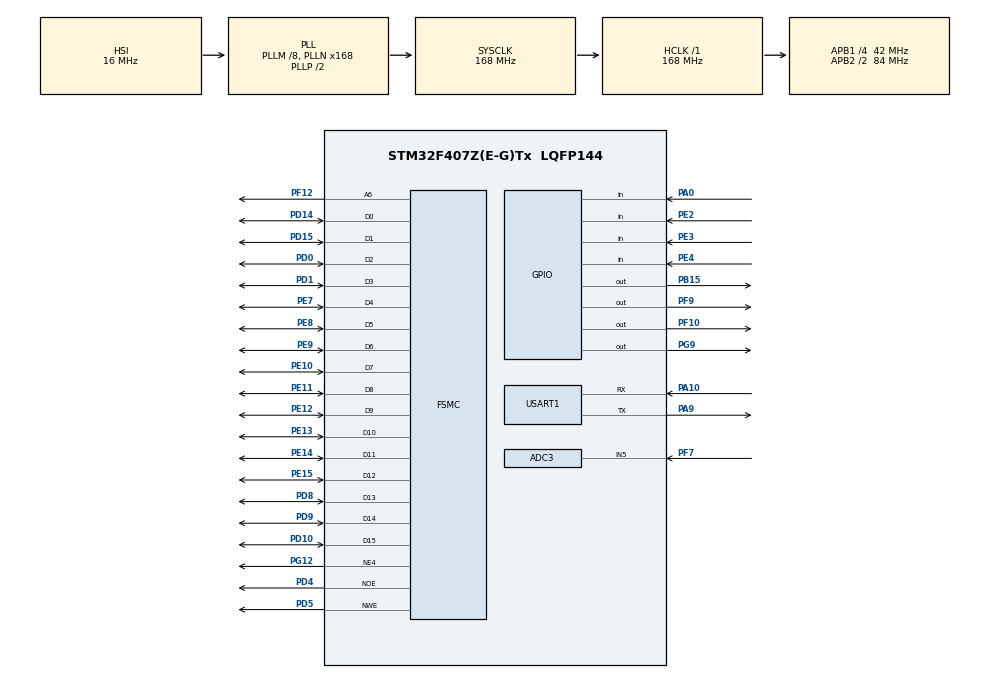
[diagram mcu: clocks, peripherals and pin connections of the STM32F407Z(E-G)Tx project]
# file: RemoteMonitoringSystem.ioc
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ADC3.Channel-0\#ChannelRegularConversion=ADC_CHANNEL_5
ADC3.NbrOfConversionFlag=1
ADC3.Rank-0\#ChannelRegularConversion=1
ADC3.SamplingTime-0\#ChannelRegularConversion=ADC_SAMPLETIME_480CYCLES
Dma.ADC3.0.Direction=DMA_PERIPH_TO_MEMORY
Dma.ADC3.0.FIFOMode=DMA_FIFOMODE_DISABLE
Dma.ADC3.0.Instance=DMA2_Stream0
Dma.ADC3.0.MemDataAlignment=DMA_MDATAALIGN_HALFWORD
Dma.ADC3.0.MemInc=DMA_MINC_ENABLE
Dma.ADC3.0.Mode=DMA_CIRCULAR
Dma.ADC3.0.PeriphDataAlignment=DMA_PDATAALIGN_HALFWORD
Dma.ADC3.0.PeriphInc=DMA_PINC_DISABLE
Dma.ADC3.0.Priority=DMA_PRIORITY_LOW
Dma.Request0=ADC3
FSMC.AddressSetupTime1=0x0F
FSMC.BusTurnAroundDuration1=0
FSMC.DataSetupTime1=60
FSMC.ExtendedAddressSetupTime1=9
FSMC.ExtendedBusTurnAroundDuration1=0
FSMC.ExtendedDataSetupTime1=9
FSMC.ExtendedMode1=FSMC_EXTENDED_MODE_ENABLE
Mcu.Family=STM32F4
Mcu.Name=STM32F407Z(E-G)Tx
Mcu.Package=LQFP144
NVIC.ADC_IRQn=true\:0\:0\:false\:false\:true\:true\:true\:true
NVIC.DMA2_Stream0_IRQn=true\:0\:0\:false\:false\:true\:false\:true\:true
NVIC.PriorityGroup=NVIC_PRIORITYGROUP_4
NVIC.USART1_IRQn=true\:0\:0\:false\:false\:true\:true\:true\:true
PA0-WKUP.GPIO_PuPd=GPIO_PULLDOWN
PA0-WKUP.Signal=GPIO_Input
PA10.GPIO_PuPd=GPIO_PULLUP
PA10.Mode=Asynchronous
PA10.Signal=USART1_RX
PA13.Mode=Serial_Wire
PA13.Signal=SYS_JTMS-SWDIO
PA14.Mode=Serial_Wire
PA14.Signal=SYS_JTCK-SWCLK
PA9.GPIO_PuPd=GPIO_PULLUP
PA9.GPIO_Speed=GPIO_SPEED_FREQ_VERY_HIGH
PA9.Mode=Asynchronous
PA9.Signal=USART1_TX
PB15.PinState=GPIO_PIN_RESET
PB15.Signal=GPIO_Output
PD0.Signal=FSMC_D2_DA2
PD1.Signal=FSMC_D3_DA3
PD10.Signal=FSMC_D15_DA15
PD14.Signal=FSMC_D0_DA0
PD15.Signal=FSMC_D1_DA1
PD4.Signal=FSMC_NOE
PD5.Signal=FSMC_NWE
PD8.Signal=FSMC_D13_DA13
PD9.Signal=FSMC_D14_DA14
PE10.Signal=FSMC_D7_DA7
PE11.Signal=FSMC_D8_DA8
PE12.Signal=FSMC_D9_DA9
PE13.Signal=FSMC_D10_DA10
PE14.Signal=FSMC_D11_DA11
PE15.Signal=FSMC_D12_DA12
PE2.GPIO_PuPd=GPIO_PULLUP
PE2.Signal=GPIO_Input
PE3.GPIO_PuPd=GPIO_PULLUP
PE3.Signal=GPIO_Input
PE4.GPIO_PuPd=GPIO_PULLUP
PE4.Signal=GPIO_Input
PE7.Signal=FSMC_D4_DA4
PE8.Signal=FSMC_D5_DA5
PE9.Signal=FSMC_D6_DA6
PF10.GPIO_PuPd=GPIO_PULLUP
PF10.GPIO_Speed=GPIO_SPEED_FREQ_HIGH
PF10.PinState=GPIO_PIN_SET
PF10.Signal=GPIO_Output
PF12.Signal=FSMC_A6
PF7.Mode=IN5
PF7.Signal=ADC3_IN5
PF9.PinState=GPIO_PIN_SET
PF9.Signal=GPIO_Output
PG12.Mode=NorPsramChipSelect4_1
PG12.Signal=FSMC_NE4
PG9.GPIO_ModeDefaultOutputPP=GPIO_MODE_OUTPUT_OD
PG9.GPIO_PuPd=GPIO_PULLUP
PG9.GPIO_Speed=GPIO_SPEED_FREQ_HIGH
PG9.Signal=GPIO_Output
PH0-OSC_IN.Mode=HSE-External-Oscillator
PH0-OSC_IN.Signal=RCC_OSC_IN
PH1-OSC_OUT.Mode=HSE-External-Oscillator
PH1-OSC_OUT.Signal=RCC_OSC_OUT
ProjectManager.HeapSize=0x200
ProjectManager.StackSize=0x400
ProjectManager.TargetToolchain=MDK-ARM V5
RCC.48MHZClocksFreq_Value=84000000
RCC.AHBFreq_Value=168000000
RCC.APB1CLKDivider=RCC_HCLK_DIV4
RCC.APB1Freq_Value=42000000
RCC.APB1TimFreq_Value=84000000
RCC.APB2CLKDivider=RCC_HCLK_DIV2
RCC.APB2Freq_Value=84000000
RCC.APB2TimFreq_Value=168000000
RCC.CortexFreq_Value=168000000
RCC.HCLKFreq_Value=168000000
RCC.HSE_VALUE=8000000
RCC.HSI_VALUE=16000000
RCC.LSE_VALUE=32768
RCC.PLLM=8
RCC.PLLN=168
RCC.SYSCLKFreq_VALUE=168000000
RCC.SYSCLKSource=RCC_SYSCLKSOURCE_PLLCLK
RCC.VCOOutputFreq_Value=336000000
SH.FSMC_A6.0=FSMC_A6,A6_1
SH.FSMC_D0_DA0.0=FSMC_D0,16b-d1
SH.FSMC_D10_DA10.0=FSMC_D10,16b-d1
SH.FSMC_D11_DA11.0=FSMC_D11,16b-d1
SH.FSMC_D12_DA12.0=FSMC_D12,16b-d1
SH.FSMC_D13_DA13.0=FSMC_D13,16b-d1
SH.FSMC_D14_DA14.0=FSMC_D14,16b-d1
SH.FSMC_D15_DA15.0=FSMC_D15,16b-d1
SH.FSMC_D1_DA1.0=FSMC_D1,16b-d1
SH.FSMC_D2_DA2.0=FSMC_D2,16b-d1
SH.FSMC_D3_DA3.0=FSMC_D3,16b-d1
SH.FSMC_D4_DA4.0=FSMC_D4,16b-d1
SH.FSMC_D5_DA5.0=FSMC_D5,16b-d1
SH.FSMC_D6_DA6.0=FSMC_D6,16b-d1
SH.FSMC_D7_DA7.0=FSMC_D7,16b-d1
SH.FSMC_D8_DA8.0=FSMC_D8,16b-d1
SH.FSMC_D9_DA9.0=FSMC_D9,16b-d1
SH.FSMC_NOE.0=FSMC_NOE,Lcd1
SH.FSMC_NWE.0=FSMC_NWE,Lcd1
USART1.VirtualMode=VM_ASYNC
board=custom

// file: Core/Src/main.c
/* USER CODE BEGIN Header */
/**
  ******************************************************************************
  * @file           : main.c
  * @brief          : Main program body
  ******************************************************************************
  * @attention
  *
  * Copyright (c) 2026 STMicroelectronics.
  * All rights reserved.
  *
  * This software is licensed under terms that can be found in the LICENSE file
  * in the root directory of this software component.
  * If no LICENSE file comes with this software, it is provided AS-IS.
  *
  ******************************************************************************
  */
/* USER CODE END Header */
#include "main.h"
#include "adc.h"
#include "dma.h"
#include "usart.h"
#include "gpio.h"
#include "fsmc.h"

/* USER CODE BEGIN Includes */
#include "LedKey\bsp_led_key.h"
#include "usart\bsp_usart1.h"
#include "delay\bsp_delay.h"
#include "lcd\lcd.h"
#include "dht11\bsp_dht11.h"
#include "lsens\bsp_lsens.h"
/* USER CODE END Includes */

/* USER CODE BEGIN PM */
//uint8_t  g_usart_rx_buf[USART_REC_LEN];  /* RX buffer, max USART_REC_LEN bytes, last byte is terminator */
//uint16_t g_usart_rx_sta;                 /* RX status register */
//uint8_t g_rx_buffer[RXBUFFERSIZE];       /* HAL USART RX buffer */
/* USER CODE END PM */

void SystemClock_Config(void);

int main(void)
{

  /* USER CODE BEGIN 1 */
	uint16_t adcx;
	//uint8_t t = 0;
	uint8_t temperature;
	uint8_t humidity;
	uint16_t cnt = 0;
  /* USER CODE END 1 */

  /* MCU Configuration--------------------------------------------------------*/

  /* Reset of all peripherals, Initializes the Flash interface and the Systick. */
  HAL_Init();

  /* Configure the system clock */
  SystemClock_Config();

  /* Initialize all configured peripherals */
  MX_GPIO_Init();
  MX_DMA_Init();
  MX_USART1_UART_Init();
  MX_FSMC_Init();
  MX_ADC3_Init();
  /* USER CODE BEGIN 2 */
	lcd_init();
	delay_init();
	lcd_show_string(30, 50, 200, 16, 16, "STM32", RED);
  lcd_show_string(30, 70, 200, 16, 16, "DHT11 TEST", RED);
  lcd_show_string(30, 90, 200, 16, 16, "ATOM@ALIENTEK", RED);
  lcd_show_string(30, 110, 200, 16, 16, "LSENS_VAL:", BLUE);
	while(dht11_init())
	{
		lcd_show_string(30, 130, 200, 16, 16, "DHT11 ERROR", RED);
		delay_ms(200);
		lcd_fill(30,130,239,130+16,WHITE);
		delay_ms(200);
	}
	lcd_show_string(30, 130, 200, 16, 16, "DHT11 OK", RED);
	lcd_show_string(30, 150, 200, 16, 16, "Temp:	C", BLUE);
	lcd_show_string(30, 170, 200, 16, 16, "Humi:	%", BLUE);
  /* USER CODE END 2 */

  /* Infinite loop */
  while (1)
  {

    /* USER CODE BEGIN 3 */
		/* ---- 每 20ms 执行一次 ---- */
    delay_ms(20);
    cnt++;

    /* ---- 每 200ms 读一次 DHT11（cnt 每 10 次 = 200ms）---- */
    if (cnt % 10 == 0)
    {
        dht11_read_data(&temperature, &humidity);
        lcd_show_num(30+40, 150, temperature, 2, 16, BLUE);
        lcd_show_num(30+40, 170, humidity,    2, 16, BLUE);
    }

    /* ---- 每 200ms 读一次光敏并显示 ---- */
    if (cnt % 10 == 0)
    {
        adcx = lsens_get_val();
        lcd_show_xnum(30 + 10*8, 110, adcx, 3, 16, 0, BLUE);
    }

    /* ---- 每 200ms 翻转 LED0 ---- */
    if (cnt % 30 == 0)
    {
        LED0_TOGGLE;    // 周期 = 10 × 20ms = 200ms → 2.5Hz，肉眼清晰可见
    }

    /* ---- 每 1s 翻转 LED1 ---- */
    if (cnt % 50 == 0)
    {
        LED1_TOGGLE;    // 周期 = 50 × 20ms = 1000ms → 1Hz
    }
  }
  /* USER CODE END 3 */
}

void SystemClock_Config(void)
{
  RCC_OscInitTypeDef RCC_OscInitStruct = {0};
  RCC_ClkInitTypeDef RCC_ClkInitStruct = {0};

  /** Configure the main internal regulator output voltage
  */
  __HAL_RCC_PWR_CLK_ENABLE();
  __HAL_PWR_VOLTAGESCALING_CONFIG(PWR_REGULATOR_VOLTAGE_SCALE1);

  /** Initializes the RCC Oscillators according to the specified parameters
  * in the RCC_OscInitTypeDef structure.
  */
  RCC_OscInitStruct.OscillatorType = RCC_OSCILLATORTYPE_HSI;
  RCC_OscInitStruct.HSIState = RCC_HSI_ON;
  RCC_OscInitStruct.HSICalibrationValue = RCC_HSICALIBRATION_DEFAULT;
  RCC_OscInitStruct.PLL.PLLState = RCC_PLL_ON;
  RCC_OscInitStruct.PLL.PLLSource = RCC_PLLSOURCE_HSI;
  RCC_OscInitStruct.PLL.PLLM = 8;
  RCC_OscInitStruct.PLL.PLLN = 168;
  RCC_OscInitStruct.PLL.PLLP = RCC_PLLP_DIV2;
  RCC_OscInitStruct.PLL.PLLQ = 4;
  if (HAL_RCC_OscConfig(&RCC_OscInitStruct) != HAL_OK)
  {
    Error_Handler();
  }

  /** Initializes the CPU, AHB and APB buses clocks
  */
  RCC_ClkInitStruct.ClockType = RCC_CLOCKTYPE_HCLK|RCC_CLOCKTYPE_SYSCLK
                              |RCC_CLOCKTYPE_PCLK1|RCC_CLOCKTYPE_PCLK2;
  RCC_ClkInitStruct.SYSCLKSource = RCC_SYSCLKSOURCE_PLLCLK;
  RCC_ClkInitStruct.AHBCLKDivider = RCC_SYSCLK_DIV1;
  RCC_ClkInitStruct.APB1CLKDivider = RCC_HCLK_DIV4;
  RCC_ClkInitStruct.APB2CLKDivider = RCC_HCLK_DIV2;

  if (HAL_RCC_ClockConfig(&RCC_ClkInitStruct, FLASH_LATENCY_5) != HAL_OK)
  {
    Error_Handler();
  }
}

void Error_Handler(void)
{
  __disable_irq();
  while (1)
  {
  }
}
